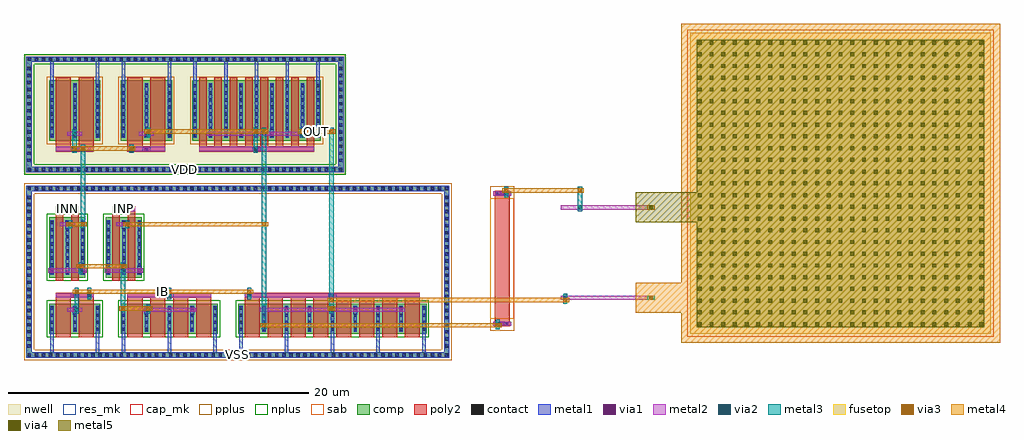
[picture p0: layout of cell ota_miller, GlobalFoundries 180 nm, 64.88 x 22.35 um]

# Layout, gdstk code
import gdstk
lib = gdstk.Library(unit=1e-6, precision=1e-09)
def R(c, l, rs):  # rectangles x0, y0, x1, y1
    for r in rs: c.add(gdstk.rectangle(r[:2], r[2:], *l))
def A(c, l, x, y, w, h, nx, ny, dx, dy):  # array of equal rectangles
    R(c, l, [(x+i*dx, y+j*dy, x+i*dx+w, y+j*dy+h) for i in range(nx) for j in range(ny)])
nwell = (21, 0)
comp = (22, 0)
poly2 = (30, 0)
pplus = (31, 0)
nplus = (32, 0)
contact = (33, 0)
metal1 = (34, 0)
via1 = (35, 0)
metal2 = (36, 0)
via2 = (38, 0)
via3 = (40, 0)
via4 = (41, 0)
metal3 = (42, 0)
metal4 = (46, 0)
sab = (49, 0)
fusetop = (75, 0)
metal5 = (81, 0)
res_mk = (110, 5)
cap_mk = (117, 5)

ota_miller = lib.new_cell('ota_miller')
R(ota_miller, nwell, [(-1.64,10.62,19.68,18.55)])
R(ota_miller, comp, [(-1.52,-1.59,26.6,-1.23), (-1.52,-1.23,-1.16,9.48), (26.24,-1.23,26.6,9.48), (0,0,3.4,2), (4.76,0,11.2,2), (12.56,0,25.08,2), (0,3.74,2.4,7.74), (3.76,3.74,6.16,7.74), (-1.52,9.48,26.6,9.84), (-1.52,10.74,19.56,11.1), (-1.52,11.1,-1.16,18.07), (19.2,11.1,19.56,18.07), (0,12.84,3.4,16.84), (4.76,12.84,8.16,16.84), (9.52,12.84,18.04,16.84), (-1.52,18.07,19.56,18.43)])
A(ota_miller, poly2, 5.2, -0.22, 1, 2.44, 4, 1, 1.52, 0)
A(ota_miller, poly2, 5.2, -0.22, 1, 2.78, 4, 1, 1.52, 0)
A(ota_miller, poly2, 13, -0.22, 1, 2.44, 8, 1, 1.52, 0)
A(ota_miller, poly2, 13, -0.22, 1, 2.78, 8, 1, 1.52, 0)
A(ota_miller, poly2, 9.96, 12.28, 0.5, 4.78, 8, 1, 1.02, 0)
A(ota_miller, poly2, 9.96, 12.62, 0.5, 4.44, 8, 1, 1.02, 0)
R(ota_miller, poly2, [(0.44,-0.22,1.44,2.22), (0.44,-0.22,1.44,2.56), (1.96,-0.22,2.96,2.22), (1.96,-0.22,2.96,2.56), (29.6,0.49,30.6,9.51), (0.44,2.38,2.96,2.74), (1.52,2.38,1.88,2.74), (5.2,2.38,10.76,2.74), (7.8,2.38,8.16,2.74), (13,2.38,24.64,2.74), (18.64,2.38,19,2.74), (0.44,3.52,0.94,7.96), (0.44,3.52,0.94,8.3), (1.46,3.52,1.96,7.96), (1.46,3.52,1.96,8.3), (4.2,3.52,4.7,7.96), (4.2,3.52,4.7,8.3), (5.22,3.52,5.72,7.96), (5.22,3.52,5.72,8.3), (0.44,8.12,1.96,8.48), (1.02,8.12,1.38,8.48), (4.2,8.12,5.72,8.48), (4.78,8.12,5.14,8.48), (0.44,12.1,2.96,12.46), (1.52,12.1,1.88,12.46), (5.2,12.1,7.72,12.46), (6.28,12.1,6.64,12.46), (9.96,12.1,17.6,12.46), (13.6,12.1,13.96,12.46), (0.44,12.28,1.44,17.06), (1.96,12.28,2.96,17.06), (5.2,12.28,6.2,17.06), (6.72,12.28,7.72,17.06), (0.44,12.62,1.44,17.06), (1.96,12.62,2.96,17.06), (5.2,12.62,6.2,17.06), (6.72,12.62,7.72,17.06)])
R(ota_miller, pplus, [(-1.68,-1.75,26.76,-1.07), (-1.68,-1.39,-1,9.64), (26.08,-1.39,26.76,9.64), (29.3,0.19,30.9,9.81), (-1.68,9.32,26.76,10), (-0.16,12.61,3.56,17.07), (4.6,12.61,8.32,17.07), (9.36,12.61,18.2,17.07)])
R(ota_miller, nplus, [(-0.16,-0.23,3.56,2.23), (4.6,-0.23,11.36,2.23), (12.4,-0.23,25.24,2.23), (-0.16,3.51,2.56,7.97), (3.6,3.51,6.32,7.97), (-1.68,10.58,19.72,11.26), (-1.68,10.94,-1,18.23), (19.04,10.94,19.72,18.23), (-1.68,17.91,19.72,18.59)])
A(ota_miller, contact, -1.435, -1.52, 0.22, 0.22, 60, 2, 0.47, 11.07)
A(ota_miller, contact, -1.45, -0.92, 0.22, 0.22, 1, 22, 0, 0.47)
A(ota_miller, contact, 26.31, -0.92, 0.22, 0.22, 1, 22, 0, 0.47)
A(ota_miller, contact, 0.07, 0.185, 0.22, 0.22, 3, 4, 1.52, 0.47)
A(ota_miller, contact, 4.83, 0.185, 0.22, 0.22, 5, 4, 1.52, 0.47)
A(ota_miller, contact, 12.63, 0.185, 0.22, 0.22, 9, 4, 1.52, 0.47)
A(ota_miller, contact, 0.07, 3.985, 0.22, 0.22, 3, 8, 1.02, 0.47)
A(ota_miller, contact, 3.83, 3.985, 0.22, 0.22, 3, 8, 1.02, 0.47)
A(ota_miller, contact, -1.43, 10.81, 0.22, 0.22, 45, 2, 0.47, 7.33)
A(ota_miller, contact, -1.45, 11.42, 0.22, 0.22, 1, 14, 0, 0.47)
A(ota_miller, contact, 19.27, 11.42, 0.22, 0.22, 1, 14, 0, 0.47)
A(ota_miller, contact, 0.07, 13.085, 0.22, 0.22, 3, 8, 1.52, 0.47)
A(ota_miller, contact, 4.83, 13.085, 0.22, 0.22, 3, 8, 1.52, 0.47)
A(ota_miller, contact, 9.59, 13.085, 0.22, 0.22, 9, 8, 1.02, 0.47)
R(ota_miller, contact, [(29.755,0.56,29.975,0.78), (30.225,0.56,30.445,0.78), (1.59,2.45,1.81,2.67), (7.87,2.45,8.09,2.67), (18.71,2.45,18.93,2.67), (1.09,8.19,1.31,8.41), (4.85,8.19,5.07,8.41), (29.755,9.22,29.975,9.44), (30.225,9.22,30.445,9.44), (1.59,12.17,1.81,12.39), (6.35,12.17,6.57,12.39), (13.67,12.17,13.89,12.39)])
A(ota_miller, metal1, 4.825, -1.33, 0.23, 1.455, 3, 1, 3.04, 0)
A(ota_miller, metal1, 12.625, -1.33, 0.23, 1.455, 5, 1, 3.04, 0)
A(ota_miller, metal1, 0.065, 0.125, 0.23, 1.75, 3, 1, 1.52, 0)
A(ota_miller, metal1, 4.825, 0.125, 0.23, 1.75, 5, 1, 1.52, 0)
A(ota_miller, metal1, 12.625, 0.125, 0.23, 1.75, 9, 1, 1.52, 0)
A(ota_miller, metal1, 14.13, 1.315, 0.26, 0.56, 4, 1, 3.04, 0)
A(ota_miller, metal1, 0.065, 3.925, 0.23, 3.63, 3, 1, 1.02, 0)
A(ota_miller, metal1, 3.825, 3.925, 0.23, 3.63, 3, 1, 1.02, 0)
A(ota_miller, metal1, 0.065, 13.025, 0.23, 3.63, 3, 1, 1.52, 0)
A(ota_miller, metal1, 4.825, 13.025, 0.23, 3.63, 3, 1, 1.52, 0)
A(ota_miller, metal1, 9.585, 13.025, 0.23, 3.63, 9, 1, 1.02, 0)
A(ota_miller, metal1, 10.59, 13.025, 0.26, 0.56, 4, 1, 2.04, 0)
A(ota_miller, metal1, 9.585, 16.655, 0.23, 1.515, 5, 1, 2.04, 0)
R(ota_miller, metal1, [(-1.52,-1.59,26.6,-1.23), (0.065,-1.33,0.295,0.125), (3.105,-1.33,3.335,0.125), (-1.52,-1.23,-1.16,9.48), (26.24,-1.23,26.6,9.48), (29.82,0.54,30.38,0.8), (29.695,0.555,30.505,0.785), (1.57,1.315,1.83,1.875), (6.33,1.315,6.59,1.875), (9.37,1.315,9.63,1.875), (1.42,2.43,1.98,2.69), (7.7,2.43,8.26,2.69), (18.54,2.43,19.1,2.69), (0.05,3.925,0.31,4.485), (2.09,3.925,2.35,4.485), (3.81,3.925,4.07,4.485), (5.85,3.925,6.11,4.485), (1.07,6.995,1.33,7.555), (4.83,6.995,5.09,7.555), (0.92,8.17,1.48,8.43), (4.68,8.17,5.24,8.43), (29.82,9.2,30.38,9.46), (29.695,9.215,30.505,9.445), (-1.52,9.48,26.6,9.84), (-1.52,10.74,19.56,11.1), (-1.52,11.1,-1.16,18.07), (19.2,11.1,19.56,18.07), (1.42,12.15,1.98,12.41), (6.18,12.15,6.74,12.41), (13.5,12.15,14.06,12.41), (1.57,13.025,1.83,13.585), (6.33,13.025,6.59,13.585), (0.065,16.655,0.295,18.17), (3.105,16.655,3.335,18.17), (4.825,16.655,5.055,18.17), (7.865,16.655,8.095,18.17), (-1.52,18.07,19.56,18.43)])
A(ota_miller, via1, 14.13, 1.465, 0.26, 0.26, 4, 1, 3.04, 0)
A(ota_miller, via1, 10.59, 13.175, 0.26, 0.26, 4, 1, 2.04, 0)
R(ota_miller, via1, [(29.97,0.54,30.23,0.8), (1.57,1.465,1.83,1.725), (6.33,1.465,6.59,1.725), (9.37,1.465,9.63,1.725), (1.57,2.43,1.83,2.69), (7.85,2.43,8.11,2.69), (18.69,2.43,18.95,2.69), (0.05,4.075,0.31,4.335), (2.09,4.075,2.35,4.335), (3.81,4.075,4.07,4.335), (5.85,4.075,6.11,4.335), (1.07,7.145,1.33,7.405), (4.83,7.145,5.09,7.405), (1.07,8.17,1.33,8.43), (4.83,8.17,5.09,8.43), (29.97,9.2,30.23,9.46), (1.57,12.15,1.83,12.41), (6.33,12.15,6.59,12.41), (13.65,12.15,13.91,12.41), (1.57,13.175,1.83,13.435), (6.33,13.175,6.59,13.435)])
A(ota_miller, metal2, 10.46, 13.165, 0.52, 0.28, 3, 1, 2.04, 0)
R(ota_miller, metal2, [(29.5,0.53,30.7,0.81), (29.56,0.53,30.08,0.81), (29.84,0.53,30.36,0.81), (1.2,1.455,2.2,1.735), (1.44,1.455,1.96,1.735), (1.56,1.455,2.08,1.735), (6.2,1.455,6.72,1.735), (6.2,1.455,9.76,1.735), (6.32,1.455,6.84,1.735), (9.24,1.455,9.76,1.735), (14,1.455,14.52,1.735), (14,1.455,23.64,1.735), (17.04,1.455,17.56,1.735), (18.5,1.455,19.02,1.735), (20.08,1.455,20.6,1.735), (23.12,1.455,23.64,1.735), (34,2.26,40,2.54), (34,2.26,36.5,2.54), (34.04,2.26,34.56,2.54), (39.74,2.26,40.26,2.54), (0.44,2.42,2.96,2.7), (1.44,2.42,1.96,2.7), (2.4,2.42,2.92,2.7), (5.2,2.42,10.76,2.7), (7.72,2.42,8.24,2.7), (7.72,2.42,8.24,2.7), (13,2.42,24.64,2.7), (13.04,2.42,13.56,2.7), (18.56,2.42,19.08,2.7), (-0.08,4.065,0.44,4.345), (-0.08,4.065,2.48,4.345), (1.84,4.065,2.36,4.345), (1.96,4.065,2.48,4.345), (3.68,4.065,4.2,4.345), (3.68,4.065,6.24,4.345), (4.64,4.065,5.16,4.345), (5.72,4.065,6.24,4.345), (0.7,7.135,1.7,7.415), (0.94,7.135,1.46,7.415), (1.14,7.135,1.66,7.415), (4.46,7.135,5.46,7.415), (4.7,7.135,5.22,7.415), (4.92,7.135,5.44,7.415), (0.44,8.16,1.96,8.44), (0.94,8.16,1.46,8.44), (4.2,8.16,5.72,8.44), (4.7,8.16,5.22,8.44), (34,8.26,40,8.54), (34,8.26,36.5,8.54), (35.02,8.26,35.54,8.54), (39.74,8.26,40.26,8.54), (29.5,9.19,30.7,9.47), (29.84,9.19,30.36,9.47), (30.12,9.19,30.64,9.47), (0.44,12.14,2.96,12.42), (1.42,12.14,1.94,12.42), (1.44,12.14,1.96,12.42), (5.2,12.14,5.72,12.42), (5.2,12.14,7.72,12.42), (6.2,12.14,6.72,12.42), (9.96,12.14,17.6,12.42), (13.46,12.14,13.98,12.42), (13.52,12.14,14.04,12.42), (1.2,13.165,2.2,13.445), (1.42,13.165,1.94,13.445), (1.44,13.165,1.96,13.445), (5.96,13.165,6.96,13.445), (6.2,13.165,6.72,13.445), (6.32,13.165,6.84,13.445), (10.46,13.165,17.1,13.445), (16.54,13.165,17.06,13.445), (16.58,13.165,17.1,13.445)])
A(ota_miller, via2, 2.53, 2.43, 0.26, 0.26, 3, 1, 5.32, 0)
R(ota_miller, via2, [(29.69,0.54,29.95,0.8), (1.69,1.465,1.95,1.725), (6.45,1.465,6.71,1.725), (18.63,1.465,18.89,1.725), (34.17,2.27,34.43,2.53), (39.87,2.27,40.13,2.53), (1.97,4.075,2.23,4.335), (4.77,4.075,5.03,4.335), (1.27,7.145,1.53,7.405), (5.05,7.145,5.31,7.405), (35.15,8.27,35.41,8.53), (39.87,8.27,40.13,8.53), (30.25,9.2,30.51,9.46), (1.55,12.15,1.81,12.41), (5.33,12.15,5.59,12.41), (13.59,12.15,13.85,12.41), (1.55,13.175,1.81,13.435), (6.45,13.175,6.71,13.435), (16.67,13.175,16.93,13.435)])
A(ota_miller, via3, 2.53, 2.67, 0.26, 0.26, 3, 1, 5.32, 0)
R(ota_miller, via3, [(14.15,0.43,14.41,0.69), (29.69,0.43,29.95,0.69), (4.77,1.55,5.03,1.81), (6.45,1.55,6.71,1.81), (18.63,1.55,18.89,1.81), (18.63,1.55,18.89,1.81), (18.63,2.11,18.89,2.37), (34.17,2.11,34.43,2.37), (39.87,2.27,40.13,2.53), (1.69,2.67,1.95,2.93), (1.97,4.35,2.23,4.61), (4.77,4.35,5.03,4.61), (4.77,4.35,5.03,4.61), (1.27,7.15,1.53,7.41), (2.11,7.15,2.37,7.41), (5.05,7.15,5.31,7.41), (14.15,7.15,14.41,7.41), (39.87,8.27,40.13,8.53), (30.25,9.39,30.51,9.65), (35.15,9.39,35.41,9.65), (1.55,12.19,1.81,12.45), (1.55,12.19,1.81,12.45), (2.11,12.19,2.37,12.45), (5.33,12.19,5.59,12.45), (6.45,13.31,6.71,13.57), (13.59,13.31,13.85,13.57), (14.15,13.31,14.41,13.57), (16.67,13.31,16.93,13.57), (18.63,13.31,18.89,13.57)])
A(ota_miller, via4, 43.11, 0.51, 0.26, 0.26, 25, 25, 0.78, 0.78)
R(ota_miller, via4, [(39.87,8.27,40.13,8.53)])
A(ota_miller, metal3, 2.52, 2.3, 0.28, 0.52, 3, 2, 5.32, 0.24)
A(ota_miller, metal3, 2.52, 2.56, 0.28, 0.24, 3, 1, 5.32, 0)
R(ota_miller, metal3, [(14.14,0.3,14.42,0.82), (29.68,0.3,29.96,0.82), (29.68,0.41,29.96,0.93), (14.14,0.56,14.42,13.44), (29.68,0.56,29.96,0.67), (1.68,1.335,1.96,1.855), (6.44,1.335,6.72,1.855), (18.62,1.335,18.9,1.855), (4.76,1.42,5.04,1.94), (6.44,1.42,6.72,1.94), (18.62,1.42,18.9,1.94), (18.62,1.42,18.9,1.94), (1.68,1.595,1.96,2.8), (6.44,1.595,6.72,1.68), (18.62,1.595,18.9,1.68), (4.76,1.68,5.04,4.48), (18.62,1.68,18.9,13.44), (18.62,1.98,18.9,2.5), (34.16,1.98,34.44,2.5), (34.16,2.14,34.44,2.66), (34.16,2.24,34.44,2.4), (39.74,2.26,40.26,2.54), (1.68,2.54,1.96,3.06), (1.96,3.945,2.24,4.465), (4.76,3.945,5.04,4.465), (1.96,4.205,2.24,4.48), (4.76,4.205,5.04,4.48), (1.96,4.22,2.24,4.74), (4.76,4.22,5.04,4.74), (4.76,4.22,5.04,4.74), (1.26,7.015,1.54,7.535), (5.04,7.015,5.32,7.535), (1.26,7.02,1.54,7.54), (2.1,7.02,2.38,7.54), (5.04,7.02,5.32,7.54), (14.14,7.02,14.42,7.54), (1.26,7.275,1.54,7.28), (5.04,7.275,5.32,7.28), (2.1,7.28,2.38,12.32), (35.14,8.14,35.42,8.66), (39.74,8.26,40.26,8.54), (35.14,8.4,35.42,9.52), (30.24,9.07,30.52,9.59), (30.24,9.26,30.52,9.78), (35.14,9.26,35.42,9.78), (30.24,9.33,30.52,9.52), (1.54,12.02,1.82,12.54), (5.32,12.02,5.6,12.54), (13.58,12.02,13.86,12.54), (1.54,12.06,1.82,12.58), (1.54,12.06,1.82,12.58), (2.1,12.06,2.38,12.58), (5.32,12.06,5.6,12.58), (1.54,12.28,1.82,12.32), (5.32,12.28,5.6,12.32), (13.58,12.28,13.86,13.44), (1.54,12.32,1.82,13.305), (1.54,13.045,1.82,13.565), (6.44,13.045,6.72,13.565), (16.66,13.045,16.94,13.565), (6.44,13.18,6.72,13.7), (13.58,13.18,13.86,13.7), (14.14,13.18,14.42,13.7), (16.66,13.18,16.94,13.7), (18.62,13.18,18.9,13.7), (6.44,13.305,6.72,13.44), (16.66,13.305,16.94,13.44)])
A(ota_miller, metal4, 2.4, 2.66, 0.52, 0.28, 3, 1, 5.32, 0)
R(ota_miller, metal4, [(42,-0.6,63.2,20.6), (14.02,0.42,14.54,0.7), (14.28,0.42,29.82,0.7), (29.56,0.42,30.08,0.7), (39,1.4,42.1,3.4), (4.64,1.54,5.16,1.82), (4.9,1.54,6.58,1.82), (6.32,1.54,6.84,1.82), (18.5,1.54,19.02,1.82), (18.5,1.54,19.02,1.82), (18.5,2.1,19.02,2.38), (18.76,2.1,34.3,2.38), (34.04,2.1,34.56,2.38), (39.74,2.26,40.26,2.54), (1.56,2.66,2.08,2.94), (1.82,2.66,13.3,2.94), (1.84,4.34,2.36,4.62), (2.1,4.34,4.9,4.62), (4.64,4.34,5.16,4.62), (4.64,4.34,5.16,4.62), (1.14,7.14,1.66,7.42), (1.4,7.14,2.24,7.42), (1.98,7.14,2.5,7.42), (4.92,7.14,5.44,7.42), (5.18,7.14,14.28,7.42), (14.02,7.14,14.54,7.42), (39.74,8.26,40.26,8.54), (30.12,9.38,30.64,9.66), (30.38,9.38,35.28,9.66), (35.02,9.38,35.54,9.66), (1.42,12.18,1.94,12.46), (1.42,12.18,1.94,12.46), (1.68,12.18,5.46,12.46), (1.98,12.18,2.5,12.46), (5.2,12.18,5.72,12.46), (6.32,13.3,6.84,13.58), (6.58,13.3,14.28,13.58), (13.46,13.3,13.98,13.58), (14.02,13.3,14.54,13.58), (16.54,13.3,17.06,13.58), (16.8,13.3,18.76,13.58), (18.5,13.3,19.02,13.58)])
R(ota_miller, sab, [(29.32,1,30.88,9)])
R(ota_miller, fusetop, [(42.6,0,62.6,20)])
R(ota_miller, metal5, [(43.05,0.45,62.15,19.55), (39,7.4,43.55,9.4), (39.36,8.18,40.64,8.62)])
R(ota_miller, res_mk, [(29.6,1,30.6,9)])
R(ota_miller, cap_mk, [(42.4,-0.2,62.8,20.2)])
ota_miller.add(gdstk.Label('INP', (4.96,8.3), layer=36, texttype=10))
ota_miller.add(gdstk.Label('INN', (1.2,8.3), layer=36, texttype=10))
ota_miller.add(gdstk.Label('OUT', (17.78,13.44), layer=46, texttype=10))
ota_miller.add(gdstk.Label('IB', (7.56,2.8), layer=46, texttype=10))
ota_miller.add(gdstk.Label('VDD', (9.02,10.92), layer=34, texttype=10))
ota_miller.add(gdstk.Label('VSS', (12.54,-1.41), layer=34, texttype=10))

lib.write_gds('ota_miller.gds')
